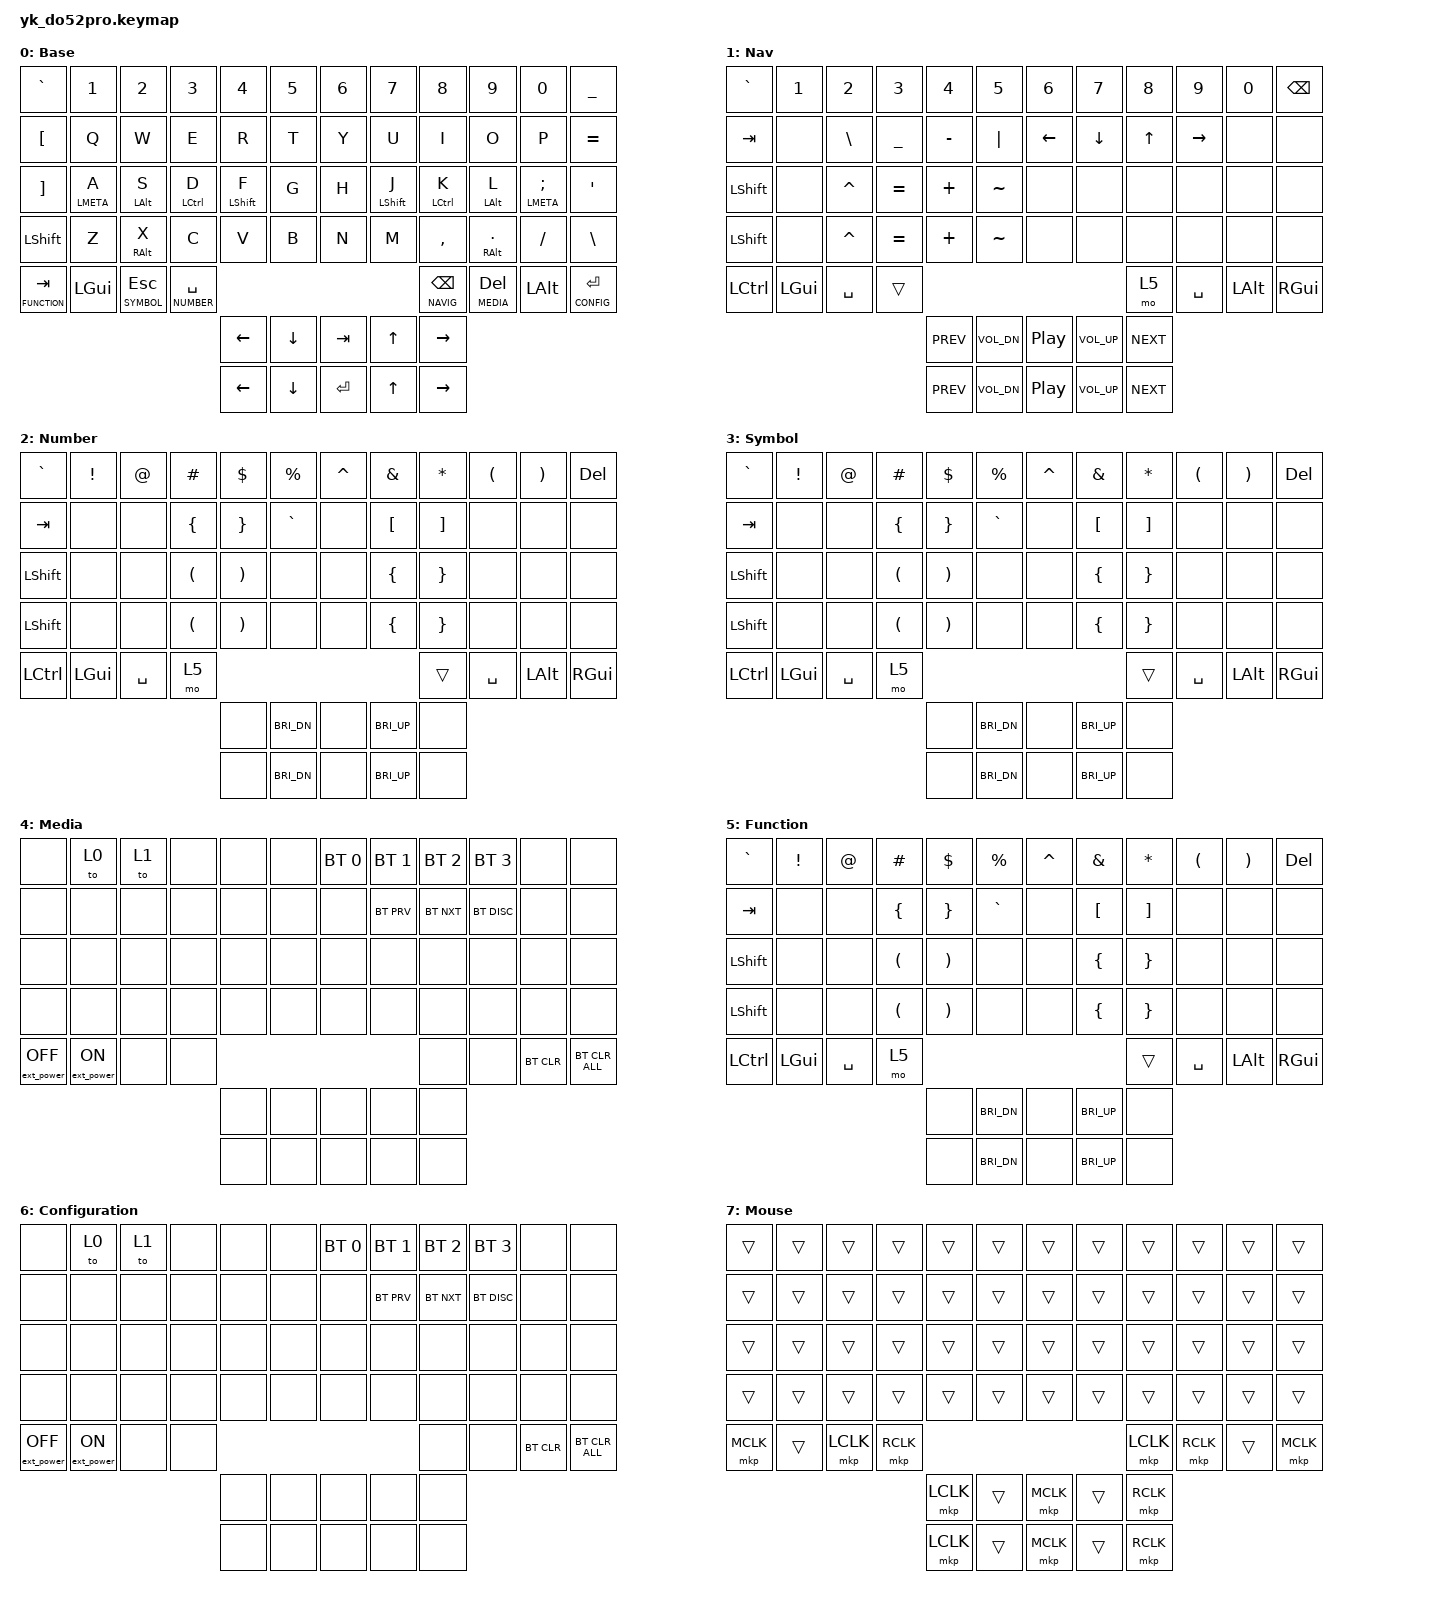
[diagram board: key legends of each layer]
/*
 * Copyright (c) 2020 The ZMK Contributors
 *
 * SPDX-License-Identifier: MIT
 */

#include <behaviors.dtsi>
#include <dt-bindings/zmk/keys.h>
#include <dt-bindings/zmk/bt.h>
#include <dt-bindings/zmk/ext_power.h>


/*
 * Defines to enable/disable features
 *
 * These defines allow us to conditionally enable and disable parts of the keymap config.
 *
 * For example, if we decide to build the firmware without the mouse features, we can
 * disable all the config options that rely on those forks and modules without having
 * to edit the entire keymap file manually every time.
 */

#define HAS_MOUSE_KEYS
#define HAS_MOUSE_TP

#define BASE      0
#define NAVIG     1
#define NUMBER    2
#define SYMBOL    3
#define MEDIA     4
#define FUNCTION  5
#define CONFIG    6
#define MOUSE_TP  7


#ifdef HAS_MOUSE_KEYS
  #include <dt-bindings/zmk/mouse.h>
  #include <behaviors/mouse_keys.dtsi>
#endif  // HAS_MOUSE_KEYS

#ifdef HAS_MOUSE_TP
  // We store the trackpoint settings in a separate file
  // to make organization a little easier.
  #include "include/mouse_tp.dtsi"
#endif  // HAS_MOUSE_TP


// Adjust layer keys based on enabled features.
//
// This prevents build errors when we build the firmware
// without the mouse keys PR or the TP module.
#ifdef HAS_MOUSE_KEYS
  #define U_THUMB_INNER &mo MOUSE_KEYS
#else
  #define U_THUMB_INNER &none
#endif  // HAS_MOUSE_KEYS

#ifdef HAS_MOUSE_TP
  #define U_TOG_TP_SET &tog MOUSE_TP_SET
#else
  #define U_TOG_TP_SET &none
#endif  // HAS_MOUSE_TP

// Disable line-wrap in your editor to see a "visualization" of the key layouts
/ {
  behaviors {
        hm: homerow_mods {
            compatible = "zmk,behavior-hold-tap";
            #binding-cells = <2>;
            tapping-term-ms = <150>;
            quick-tap-ms = <0>;
            flavor = "tap-preferred";
            bindings = <&kp>, <&kp>;
        };
  };
  
  keymap {
    compatible = "zmk,keymap";
   
    Base_layer {
      display-name = "Base";
      bindings = <
//|------------|-------------|-----------|-----------|---------------|---------------|   |---------------|-------------|-----------|-------------|---------------|------------|
   &kp GRAVE    &kp N1        &kp N2      &kp N3      &kp N4          &kp N5              &kp N6          &kp N7        &kp N8      &kp N9        &kp N0          &kp UNDER
   &kp LBKT     &kp Q         &kp W       &kp E       &kp R           &kp T               &kp Y           &kp U         &kp I       &kp O         &kp P           &kp EQUAL
   &kp RBKT     &hm LMETA A   &hm LALT S  &hm LCTRL D &hm LSHIFT F    &kp G               &kp H           &hm LSHIFT J  &hm LCTRL K &hm LALT L    &hm LMETA SEMI  &kp SQT
   &kp LSHFT    &kp Z         &hm RALT X  &kp C       &kp V           &kp B               &kp N           &kp M         &kp COMMA   &hm RALT DOT  &kp FSLH        &kp BSLH
   &lt FUNCTION TAB &kp LGUI                          &lt SYMBOL ESC  &lt NUMBER SPACE    &lt NAVIG BSPC  &lt MEDIA DEL                           &kp LALT        &lt CONFIG RET
                                             // DPAD  Left,     Down,     Middle,   Up,        Right
                                                      &kp LEFT  &kp DOWN  &kp TAB   &kp UP &kp RIGHT
                                                      &kp LEFT  &kp DOWN  &kp RET   &kp UP &kp RIGHT
      >;
    };


    Nav_layer {
      display-name = "Nav";
      bindings = <
   &kp GRAVE &kp N1   &kp N2    &kp N3    &kp N4    &kp N5        &kp N6   &kp N7    &kp N8  &kp N9    &kp N0   &kp BSPC
   &kp TAB   &none    &kp BSLH  &kp UNDER &kp MINUS &kp PIPE      &kp LEFT &kp DOWN  &kp UP  &kp RIGHT &none    &none
   &kp LSHFT &none    &kp CARET &kp EQUAL &kp PLUS  &kp TILDE     &none    &none     &none   &none     &none    &none
   &kp LSHFT &none    &kp CARET &kp EQUAL &kp PLUS  &kp TILDE     &none    &none     &none   &none     &none    &none
   &kp LCTRL &kp LGUI                     &kp SPACE &trans        &mo 5    &kp SPACE                   &kp LALT &kp RGUI
                                    // DPAD Left, Down, Middle, Up, Right
                        &kp C_PREV &kp C_VOL_DN  &kp C_PP &kp C_VOL_UP &kp C_NEXT
                        &kp C_PREV &kp C_VOL_DN  &kp C_PP &kp C_VOL_UP &kp C_NEXT
      >;
    };

    Num_layer {
      display-name = "Number";
      bindings = <
   &kp GRAVE &kp EXCL &kp AT &kp HASH &kp DLLR  &kp PRCNT        &kp CARET &kp AMPS  &kp ASTRK &kp LPAR &kp RPAR &kp DEL
   &kp TAB   &none    &none  &kp LBRC &kp RBRC  &kp GRAVE        &none     &kp LBKT  &kp RBKT  &none    &none    &none
   &kp LSHFT &none    &none  &kp LPAR &kp RPAR  &none            &none     &kp LBRC  &kp RBRC  &none    &none    &none
   &kp LSHFT &none    &none  &kp LPAR &kp RPAR  &none            &none     &kp LBRC  &kp RBRC  &none    &none    &none
   &kp LCTRL &kp LGUI                 &kp SPACE &mo 5            &trans    &kp SPACE                    &kp LALT &kp RGUI
                                        // DPAD Left, Down,         Middle, Up,           Right
                                                &none &kp C_BRI_DN  &none   &kp C_BRI_UP  &none
                                                &none &kp C_BRI_DN  &none   &kp C_BRI_UP  &none
      >;
    };

   
    Symb_layer {
      display-name = "Symbol";
      bindings = <
   &kp GRAVE &kp EXCL &kp AT &kp HASH &kp DLLR  &kp PRCNT        &kp CARET &kp AMPS  &kp ASTRK &kp LPAR &kp RPAR &kp DEL
   &kp TAB   &none    &none  &kp LBRC &kp RBRC  &kp GRAVE        &none     &kp LBKT  &kp RBKT  &none    &none    &none
   &kp LSHFT &none    &none  &kp LPAR &kp RPAR  &none            &none     &kp LBRC  &kp RBRC  &none    &none    &none
   &kp LSHFT &none    &none  &kp LPAR &kp RPAR  &none            &none     &kp LBRC  &kp RBRC  &none    &none    &none
   &kp LCTRL &kp LGUI                 &kp SPACE &mo 5            &trans    &kp SPACE                    &kp LALT &kp RGUI
                                    // DPAD Left, Down, Middle, Up, Right
                                    &none &kp C_BRI_DN  &none &kp C_BRI_UP &none
                                    &none &kp C_BRI_DN  &none &kp C_BRI_UP &none
      >;
    };

  Media_layer {
      display-name = "Media";
      bindings = <
   &none        &to 0       &to 1 &none &none &none           &bt BT_SEL 0 &bt BT_SEL 1 &bt BT_SEL 2 &bt BT_SEL 3 &none &none
   &none        &none       &none &none &none &none           &none        &bt BT_PRV   &bt BT_NXT   &bt BT_DISC  &none &none
   &none        &none       &none &none &none &none           &none        &none        &none        &none        &none &none
   &none        &none       &none &none &none &none           &none        &none        &none        &none        &none &none
   &ext_power EP_OFF &ext_power EP_ON   &none &none           &none        &none                  &bt BT_CLR   &bt BT_CLR_ALL
                                    // DPAD Left, Down, Middle, Up, Right
                                    // DPAD Left, Down, Middle, Up, Right
                                      &none &none &none &none &none
                                      &none &none &none &none &none
      >;
    };



    Func_layer {
      display-name = "Function";
      bindings = <
   &kp GRAVE &kp EXCL &kp AT &kp HASH &kp DLLR  &kp PRCNT        &kp CARET &kp AMPS  &kp ASTRK &kp LPAR &kp RPAR &kp DEL
   &kp TAB   &none    &none  &kp LBRC &kp RBRC  &kp GRAVE        &none     &kp LBKT  &kp RBKT  &none    &none    &none
   &kp LSHFT &none    &none  &kp LPAR &kp RPAR  &none            &none     &kp LBRC  &kp RBRC  &none    &none    &none
   &kp LSHFT &none    &none  &kp LPAR &kp RPAR  &none            &none     &kp LBRC  &kp RBRC  &none    &none    &none
   &kp LCTRL &kp LGUI                 &kp SPACE &mo 5            &trans    &kp SPACE                    &kp LALT &kp RGUI
                                    // DPAD Left, Down, Middle, Up, Right
                                    &none &kp C_BRI_DN  &none &kp C_BRI_UP &none
                                    &none &kp C_BRI_DN  &none &kp C_BRI_UP &none
      >;
    };

    Config_layer {
      display-name = "Configuration";
      bindings = <
   &none        &to 0       &to 1 &none &none &none           &bt BT_SEL 0 &bt BT_SEL 1 &bt BT_SEL 2 &bt BT_SEL 3 &none &none
   &none        &none       &none &none &none &none           &none        &bt BT_PRV   &bt BT_NXT   &bt BT_DISC  &none &none
   &none        &none       &none &none &none &none           &none        &none        &none        &none        &none &none
   &none        &none       &none &none &none &none           &none        &none        &none        &none        &none &none
   &ext_power EP_OFF &ext_power EP_ON   &none &none           &none        &none                  &bt BT_CLR   &bt BT_CLR_ALL
                                    // DPAD Left, Down, Middle, Up, Right
                                    // DPAD Left, Down, Middle, Up, Right
                                      &none &none &none &none &none
                                      &none &none &none &none &none
      >;
    };

   
     Mouse_layer {
      display-name = "Mouse";
      bindings = <
//|------------|-------------|-----------|-----------|---------------|---------------|   |---------------|-------------|-----------|-------------|---------------|------------|
   &trans       &trans        &trans      &trans      &trans          &trans              &trans          &trans        &trans      &trans        &trans          &trans
   &trans       &trans        &trans      &trans      &trans          &trans              &trans          &trans        &trans      &trans        &trans          &trans
   &trans       &trans        &trans      &trans      &trans          &trans              &trans          &trans        &trans      &trans        &trans          &trans
   &trans       &trans        &trans      &trans      &trans          &trans              &trans          &trans        &trans      &trans        &trans          &trans
   &mkp MCLK    &trans                    &mkp LCLK   &mkp RCLK       &mkp LCLK           &mkp RCLK                                               &trans          &mkp MCLK
                                        // DPAD Left,      Down,   Middle,     Up,     Right
                                                &mkp LCLK  &trans  &mkp MCLK   &trans  &mkp RCLK 
                                                &mkp LCLK  &trans  &mkp MCLK   &trans  &mkp RCLK 
      >;
    };

#ifdef HAS_MOUSE_KEYS

#endif
#ifdef HAS_MOUSE_TP
//         // You can find the defines for the actual key press behaviors in `include/mouse_tp.dtsi`.
//         MouseSettings_layer {
//           display-name = "TP Set";
//           bindings = <
//     // ╭────────────────────────┬────────────────────────┬────────────────────────┬────────────────────────┬────────────────────────┬────────────────────────╮    ╭────────────────────────┬────────────────────────┬────────────────────────┬────────────────────────┬────────────────────────┬────────────────────────╮
//          U_TOG_TP_SET             U_TOG_TP_SET             &none                    U_MSS_TP_S_D             U_MSS_TP_S_I             U_MSS_TP_PT_I                 U_MSS_TP_PT_I            U_MSS_TP_S_D             U_MSS_TP_S_I             &none                    U_TOG_TP_SET              U_TOG_TP_SET
//     // ├────────────────────────┼────────────────────────┼────────────────────────┼────────────────────────┼────────────────────────┼────────────────────────┤    ├────────────────────────┼────────────────────────┼────────────────────────┼────────────────────────┼────────────────────────┼────────────────────────┤
//          U_MSS_RESET              U_MSS_RESET              &none                    U_MSS_TP_NI_D            U_MSS_TP_NI_I            U_MSS_TP_PT_D                 U_MSS_TP_PT_D            U_MSS_TP_NI_D            U_MSS_TP_NI_I            &none                    U_MSS_RESET               U_MSS_RESET
//     // ├────────────────────────┼────────────────────────┼────────────────────────┼────────────────────────┼────────────────────────┼────────────────────────┤    ├────────────────────────┼────────────────────────┼────────────────────────┼────────────────────────┼────────────────────────┼────────────────────────┤
//          U_MSS_LOG                U_MSS_LOG                &none                    U_MSS_TP_V6_D            U_MSS_TP_V6_I            &none                         &none                    U_MSS_TP_V6_D            U_MSS_TP_V6_I            &none                    U_MSS_LOG                 U_MSS_LOG
//     // ╰────────────────────────┴────────────────────────┴────────────────────────┴────────────────────────┼────────────────────────┼────────────────────────┤    ├────────────────────────┼────────────────────────┼────────────────────────┼────────────────────────┴────────────────────────┼────────────────────────╯
//                                                                                     &trans                   &mkp LCLK                &mkp RCLK                     &none                    &mkp LCLK                &mkp RCLK
//     //                                                                            ╰────────────────────────┴────────────────────────┴────────────────────────╯    ╰────────────────────────┴────────────────────────┴────────────────────────╯
//           >;
//         };


#endif

 

  };
};
